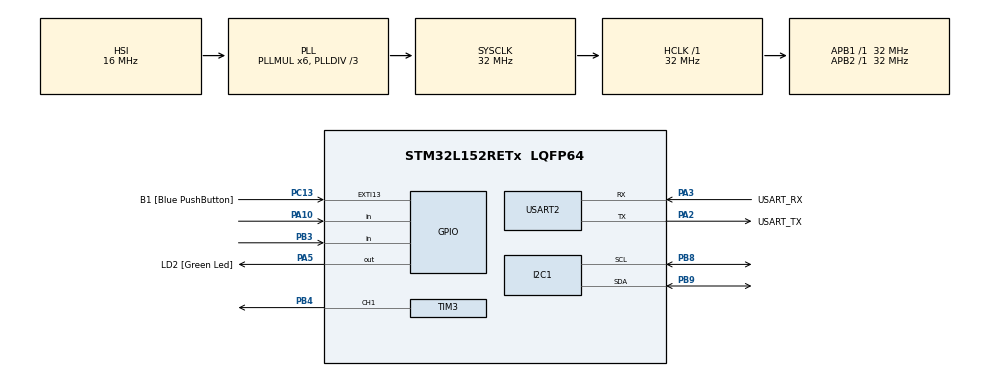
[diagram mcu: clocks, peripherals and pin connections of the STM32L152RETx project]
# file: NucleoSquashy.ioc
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FREERTOS.Tasks01=defaultTask,0,128,StartDefaultTask,Default,NULL
Mcu.Family=STM32L1
Mcu.Name=STM32L152RETx
Mcu.Package=LQFP64
NVIC.PriorityGroup=NVIC_PRIORITYGROUP_4
PA10.GPIO_PuPd=GPIO_PULLDOWN
PA10.Signal=GPIO_Input
PA13.GPIO_Label=TMS
PA13.Mode=Serial_Wire
PA13.Signal=SYS_JTMS-SWDIO
PA14.GPIO_Label=TCK
PA14.Mode=Serial_Wire
PA14.Signal=SYS_JTCK-SWCLK
PA2.GPIO_Label=USART_TX
PA2.Mode=Asynchronous
PA2.Signal=USART2_TX
PA3.GPIO_Label=USART_RX
PA3.Mode=Asynchronous
PA3.Signal=USART2_RX
PA5.GPIO_Label=LD2 [Green Led]
PA5.Signal=GPIO_Output
PB3.GPIO_PuPd=GPIO_PULLDOWN
PB3.Signal=GPIO_Input
PB4.GPIO_PuPd=GPIO_NOPULL
PB4.Signal=S_TIM3_CH1
PB8.Mode=I2C
PB8.Signal=I2C1_SCL
PB9.Mode=I2C
PB9.Signal=I2C1_SDA
PC13-WKUP2.GPIO_Label=B1 [Blue PushButton]
PC13-WKUP2.Signal=GPXTI13
PC14-OSC32_IN.Mode=LSE-External-Oscillator
PC14-OSC32_IN.Signal=RCC_OSC32_IN
PC15-OSC32_OUT.Mode=LSE-External-Oscillator
PC15-OSC32_OUT.Signal=RCC_OSC32_OUT
PH0-OSC_IN.Mode=HSE-External-Clock-Source
PH0-OSC_IN.Signal=RCC_OSC_IN
PH1-OSC_OUT.Signal=RCC_OSC_OUT
ProjectManager.HeapSize=0x200
ProjectManager.StackSize=0x400
ProjectManager.TargetToolchain=SW4STM32
RCC.48MHZClocksFreq_Value=48000000
RCC.AHBFreq_Value=32000000
RCC.APB1Freq_Value=32000000
RCC.APB1TimFreq_Value=32000000
RCC.APB2Freq_Value=32000000
RCC.APB2TimFreq_Value=32000000
RCC.HCLKFreq_Value=32000000
RCC.HSE_VALUE=8000000
RCC.HSI_VALUE=16000000
RCC.MSI_VALUE=2097000
RCC.PLLDIV=RCC_PLL_DIV3
RCC.PLLMUL=RCC_PLL_MUL6
RCC.RTCClockSelectionVirtual=RCC_RTCCLKSOURCE_LSE
RCC.SYSCLKFreq_VALUE=32000000
RCC.SYSCLKSource=RCC_SYSCLKSOURCE_PLLCLK
RCC.USBOutput=48000000
RCC.VCOOutputFreq_Value=96000000
SH.S_TIM3_CH1.0=TIM3_CH1,PWM Generation1 CH1
TIM3.Channel-PWM\ Generation1\ CH1=TIM_CHANNEL_1
TIM3.Period=100-1
TIM3.Prescaler=1080-1
USART2.VirtualMode=VM_ASYNC
VP_FREERTOS_VS_ENABLE.Mode=Enabled
board=NUCLEO-L152RE

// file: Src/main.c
/* USER CODE BEGIN Header */
/**
  ******************************************************************************
  * @file           : main.c
  * @brief          : Main program body
  ******************************************************************************
  * This notice applies to any and all portions of this file
  * that are not between comment pairs USER CODE BEGIN and
  * USER CODE END. Other portions of this file, whether
  * inserted by the user or by software development tools
  * are owned by their respective copyright owners.
  *
  * Copyright (c) 2019 STMicroelectronics International N.V.
  * All rights reserved.
  *
  * Redistribution and use in source and binary forms, with or without
  * modification, are permitted, provided that the following conditions are met:
  *
  * 1. Redistribution of source code must retain the above copyright notice,
  *    this list of conditions and the following disclaimer.
  * 2. Redistributions in binary form must reproduce the above copyright notice,
  *    this list of conditions and the following disclaimer in the documentation
  *    and/or other materials provided with the distribution.
  * 3. Neither the name of STMicroelectronics nor the names of other
  *    contributors to this software may be used to endorse or promote products
  *    derived from this software without specific written permission.
  * 4. This software, including modifications and/or derivative works of this
  *    software, must execute solely and exclusively on microcontroller or
  *    microprocessor devices manufactured by or for STMicroelectronics.
  * 5. Redistribution and use of this software other than as permitted under
  *    this license is void and will automatically terminate your rights under
  *    this license.
  *
  * THIS SOFTWARE IS PROVIDED BY STMICROELECTRONICS AND CONTRIBUTORS "AS IS"
  * AND ANY EXPRESS, IMPLIED OR STATUTORY WARRANTIES, INCLUDING, BUT NOT
  * LIMITED TO, THE IMPLIED WARRANTIES OF MERCHANTABILITY, FITNESS FOR A
  * PARTICULAR PURPOSE AND NON-INFRINGEMENT OF THIRD PARTY INTELLECTUAL PROPERTY
  * RIGHTS ARE DISCLAIMED TO THE FULLEST EXTENT PERMITTED BY LAW. IN NO EVENT
  * SHALL STMICROELECTRONICS OR CONTRIBUTORS BE LIABLE FOR ANY DIRECT, INDIRECT,
  * INCIDENTAL, SPECIAL, EXEMPLARY, OR CONSEQUENTIAL DAMAGES (INCLUDING, BUT NOT
  * LIMITED TO, PROCUREMENT OF SUBSTITUTE GOODS OR SERVICES; LOSS OF USE, DATA,
  * OR PROFITS; OR BUSINESS INTERRUPTION) HOWEVER CAUSED AND ON ANY THEORY OF
  * LIABILITY, WHETHER IN CONTRACT, STRICT LIABILITY, OR TORT (INCLUDING
  * NEGLIGENCE OR OTHERWISE) ARISING IN ANY WAY OUT OF THE USE OF THIS SOFTWARE,
  * EVEN IF ADVISED OF THE POSSIBILITY OF SUCH DAMAGE.
  *
  ******************************************************************************
  */
/* USER CODE END Header */

#include "main.h"
#include "cmsis_os.h"

/* USER CODE BEGIN Includes */
#include "ssd1306.h"
#include "gamesys.h"
/* USER CODE END Includes */

I2C_HandleTypeDef hi2c1;

TIM_HandleTypeDef htim3;

UART_HandleTypeDef huart2;

osThreadId defaultTaskHandle;

void SystemClock_Config(void);
static void MX_GPIO_Init(void);
static void MX_USART2_UART_Init(void);
static void MX_I2C1_Init(void);
static void MX_TIM3_Init(void);
void StartDefaultTask(void const * argument);

/* USER CODE BEGIN PFP */

void vToggleLED(void){
	HAL_GPIO_TogglePin(LD2_GPIO_Port, LD2_Pin);
}

void vTaskToggleLED(void *pvParameters){
	const TickType_t xToggleDelay = 500 / portTICK_PERIOD_MS;
	for( ;; ){
		vToggleLED();
		vTaskDelay(xToggleDelay);
	}
}

/*	Update Task for calculations and I/O Management	*/

void vTaskUpdate(void *pvParameters){
	static const TickType_t xUpDelay = 33 / portTICK_PERIOD_MS;
	for( ;; ){
		vTaskDelay(xUpDelay);
		vUpdate();
	}
}

/* Draw Task to update the screen */

void vTaskDraw(void *pvParameters){
	static const TickType_t xUpDelay = 33 / portTICK_PERIOD_MS;
		for( ;; ){
			vTaskDelay(xUpDelay);
			vDraw();
		}
}

/* Do sounds */

void vTaskAudio(void *pvParameters){
	const TickType_t xToggleDelay = 33 / portTICK_PERIOD_MS;
	for( ;; ){
		vOutputAudio();
		vTaskDelay(xToggleDelay);
	}
}

/* Init splash screen */

void vInitSplash(void){
  ssd1306_Init();
  ssd1306_Fill(Black);
  ssd1306_UpdateScreen();
	ssd1306_SetCursor(1,23);
	ssd1306_WriteString("Squashy 1.0", Font_11x18, White);
	ssd1306_UpdateScreen();
  HAL_Delay(1000);
}
/* USER CODE END PFP */

/* USER CODE BEGIN 0 */
void user_pwm_setvalue(uint16_t value)
{
    TIM_OC_InitTypeDef sConfigOC;

    sConfigOC.OCMode = TIM_OCMODE_PWM1;
    sConfigOC.Pulse = value;
    sConfigOC.OCPolarity = TIM_OCPOLARITY_HIGH;
    sConfigOC.OCFastMode = TIM_OCFAST_DISABLE;
    HAL_TIM_PWM_ConfigChannel(&htim3, &sConfigOC, TIM_CHANNEL_1);
    //HAL_TIM_PWM_Start(&htim3, TIM_CHANNEL_1);
}
/* USER CODE END 0 */

int main(void)
{

  /* MCU Configuration--------------------------------------------------------*/

  /* Reset of all peripherals, Initializes the Flash interface and the Systick. */
  HAL_Init();

  /* Configure the system clock */
  SystemClock_Config();

  /* Initialize all configured peripherals */
  MX_GPIO_Init();
  MX_USART2_UART_Init();
  MX_I2C1_Init();
  MX_TIM3_Init();
  /* USER CODE BEGIN 2 */
  vInitSplash();
	vInitSys();
	HAL_TIM_PWM_Stop(&htim3, TIM_CHANNEL_1);
	user_pwm_setvalue(30);
  /* USER CODE END 2 */

  /* Create the thread(s) */
  /* definition and creation of defaultTask */
  osThreadDef(defaultTask, StartDefaultTask, osPriorityNormal, 0, 128);
  defaultTaskHandle = osThreadCreate(osThread(defaultTask), NULL);

  /* USER CODE BEGIN RTOS_THREADS */
  /* add threads, ... */

  xTaskCreate( vTaskUpdate, "Update", 10, NULL, 1, NULL);
  xTaskCreate( vTaskDraw, "Draw", 50, NULL, 1, NULL);
  xTaskCreate( vTaskAudio, "Audio", 10, NULL, 0, NULL);
  xTaskCreate( vTaskToggleLED, "Led", 10, NULL, 0, NULL);
  /* USER CODE END RTOS_THREADS */

  /* Start scheduler */
  osKernelStart();

  /* We should never get here as control is now taken by the scheduler */

  /* Infinite loop */
  while (1)
  {

  }
}

void SystemClock_Config(void)
{
  RCC_OscInitTypeDef RCC_OscInitStruct = {0};
  RCC_ClkInitTypeDef RCC_ClkInitStruct = {0};

  /**Configure the main internal regulator output voltage
  */
  __HAL_PWR_VOLTAGESCALING_CONFIG(PWR_REGULATOR_VOLTAGE_SCALE1);
  /**Initializes the CPU, AHB and APB busses clocks
  */
  RCC_OscInitStruct.OscillatorType = RCC_OSCILLATORTYPE_HSI;
  RCC_OscInitStruct.HSIState = RCC_HSI_ON;
  RCC_OscInitStruct.HSICalibrationValue = RCC_HSICALIBRATION_DEFAULT;
  RCC_OscInitStruct.PLL.PLLState = RCC_PLL_ON;
  RCC_OscInitStruct.PLL.PLLSource = RCC_PLLSOURCE_HSI;
  RCC_OscInitStruct.PLL.PLLMUL = RCC_PLL_MUL6;
  RCC_OscInitStruct.PLL.PLLDIV = RCC_PLL_DIV3;
  if (HAL_RCC_OscConfig(&RCC_OscInitStruct) != HAL_OK)
  {
    Error_Handler();
  }
  /**Initializes the CPU, AHB and APB busses clocks
  */
  RCC_ClkInitStruct.ClockType = RCC_CLOCKTYPE_HCLK|RCC_CLOCKTYPE_SYSCLK
                              |RCC_CLOCKTYPE_PCLK1|RCC_CLOCKTYPE_PCLK2;
  RCC_ClkInitStruct.SYSCLKSource = RCC_SYSCLKSOURCE_PLLCLK;
  RCC_ClkInitStruct.AHBCLKDivider = RCC_SYSCLK_DIV1;
  RCC_ClkInitStruct.APB1CLKDivider = RCC_HCLK_DIV1;
  RCC_ClkInitStruct.APB2CLKDivider = RCC_HCLK_DIV1;

  if (HAL_RCC_ClockConfig(&RCC_ClkInitStruct, FLASH_LATENCY_1) != HAL_OK)
  {
    Error_Handler();
  }
}

static void MX_I2C1_Init(void)
{

  hi2c1.Instance = I2C1;
  hi2c1.Init.ClockSpeed = 100000;
  hi2c1.Init.DutyCycle = I2C_DUTYCYCLE_2;
  hi2c1.Init.OwnAddress1 = 0;
  hi2c1.Init.AddressingMode = I2C_ADDRESSINGMODE_7BIT;
  hi2c1.Init.DualAddressMode = I2C_DUALADDRESS_DISABLE;
  hi2c1.Init.OwnAddress2 = 0;
  hi2c1.Init.GeneralCallMode = I2C_GENERALCALL_DISABLE;
  hi2c1.Init.NoStretchMode = I2C_NOSTRETCH_DISABLE;
  if (HAL_I2C_Init(&hi2c1) != HAL_OK)
  {
    Error_Handler();
  }

}

static void MX_TIM3_Init(void)
{

  TIM_MasterConfigTypeDef sMasterConfig = {0};
  TIM_OC_InitTypeDef sConfigOC = {0};

  htim3.Instance = TIM3;
  htim3.Init.Prescaler = 1080-1;
  htim3.Init.CounterMode = TIM_COUNTERMODE_UP;
  htim3.Init.Period = 100-1;
  htim3.Init.ClockDivision = TIM_CLOCKDIVISION_DIV1;
  if (HAL_TIM_PWM_Init(&htim3) != HAL_OK)
  {
    Error_Handler();
  }
  sMasterConfig.MasterOutputTrigger = TIM_TRGO_RESET;
  sMasterConfig.MasterSlaveMode = TIM_MASTERSLAVEMODE_DISABLE;
  if (HAL_TIMEx_MasterConfigSynchronization(&htim3, &sMasterConfig) != HAL_OK)
  {
    Error_Handler();
  }
  sConfigOC.OCMode = TIM_OCMODE_PWM1;
  sConfigOC.Pulse = 0;
  sConfigOC.OCPolarity = TIM_OCPOLARITY_HIGH;
  sConfigOC.OCFastMode = TIM_OCFAST_DISABLE;
  if (HAL_TIM_PWM_ConfigChannel(&htim3, &sConfigOC, TIM_CHANNEL_1) != HAL_OK)
  {
    Error_Handler();
  }
  HAL_TIM_MspPostInit(&htim3);

}

static void MX_USART2_UART_Init(void)
{

  huart2.Instance = USART2;
  huart2.Init.BaudRate = 115200;
  huart2.Init.WordLength = UART_WORDLENGTH_8B;
  huart2.Init.StopBits = UART_STOPBITS_1;
  huart2.Init.Parity = UART_PARITY_NONE;
  huart2.Init.Mode = UART_MODE_TX_RX;
  huart2.Init.HwFlowCtl = UART_HWCONTROL_NONE;
  huart2.Init.OverSampling = UART_OVERSAMPLING_16;
  if (HAL_UART_Init(&huart2) != HAL_OK)
  {
    Error_Handler();
  }

}

static void MX_GPIO_Init(void)
{
  GPIO_InitTypeDef GPIO_InitStruct = {0};

  /* GPIO Ports Clock Enable */
  __HAL_RCC_GPIOC_CLK_ENABLE();
  __HAL_RCC_GPIOH_CLK_ENABLE();
  __HAL_RCC_GPIOA_CLK_ENABLE();
  __HAL_RCC_GPIOB_CLK_ENABLE();

  /*Configure GPIO pin Output Level */
  HAL_GPIO_WritePin(LD2_GPIO_Port, LD2_Pin, GPIO_PIN_RESET);

  /*Configure GPIO pin : B1_Pin */
  GPIO_InitStruct.Pin = B1_Pin;
  GPIO_InitStruct.Mode = GPIO_MODE_IT_RISING;
  GPIO_InitStruct.Pull = GPIO_NOPULL;
  HAL_GPIO_Init(B1_GPIO_Port, &GPIO_InitStruct);

  /*Configure GPIO pin : LD2_Pin */
  GPIO_InitStruct.Pin = LD2_Pin;
  GPIO_InitStruct.Mode = GPIO_MODE_OUTPUT_PP;
  GPIO_InitStruct.Pull = GPIO_NOPULL;
  GPIO_InitStruct.Speed = GPIO_SPEED_FREQ_LOW;
  HAL_GPIO_Init(LD2_GPIO_Port, &GPIO_InitStruct);

  /*Configure GPIO pin : PA10 */
  GPIO_InitStruct.Pin = GPIO_PIN_10;
  GPIO_InitStruct.Mode = GPIO_MODE_INPUT;
  GPIO_InitStruct.Pull = GPIO_PULLDOWN;
  HAL_GPIO_Init(GPIOA, &GPIO_InitStruct);

  /*Configure GPIO pin : PB3 */
  GPIO_InitStruct.Pin = GPIO_PIN_3;
  GPIO_InitStruct.Mode = GPIO_MODE_INPUT;
  GPIO_InitStruct.Pull = GPIO_PULLDOWN;
  HAL_GPIO_Init(GPIOB, &GPIO_InitStruct);

}

void StartDefaultTask(void const * argument)
{

  for(;;)
  {
    osDelay(1);
  }
}

void Error_Handler(void)
{
}

/************************ (C) COPYRIGHT STMicroelectronics *****END OF FILE****/
